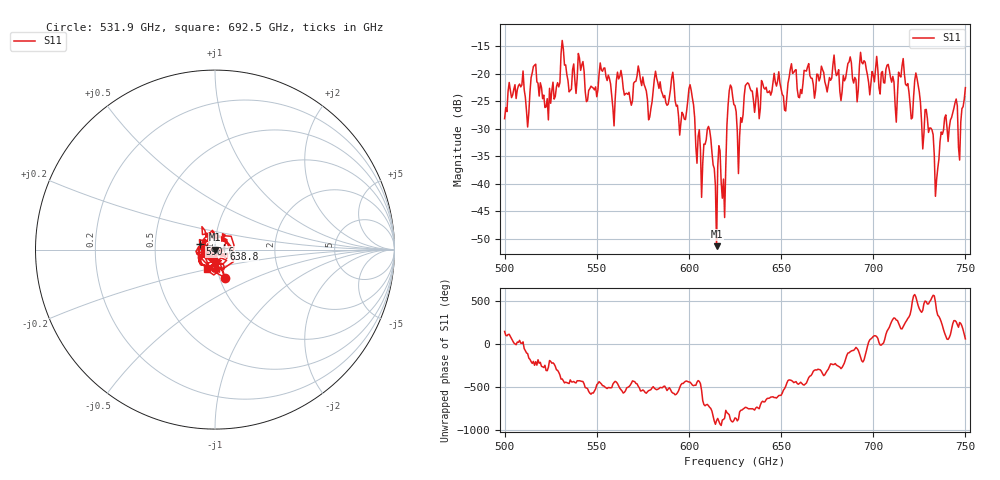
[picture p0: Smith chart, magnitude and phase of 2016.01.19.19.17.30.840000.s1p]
!Created with skrf (http://scikit-rf.org).
# GHz S RI R 50.0
!freq ReS11 ImS11
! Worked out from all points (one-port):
!   401 points, 500 GHz to 750 GHz, reference 50 ohm
!   lowest |S11| = -51.3 dB at 615 GHz (marker M1), VSWR 1.01, Z = 49.7 - j0.0337 ohm
!   |S11| at or under -10 dB: start of sweep to end of sweep
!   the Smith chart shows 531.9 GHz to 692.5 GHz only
!   S11 on the Smith chart (normalised r, x): 531.9 GHz: 1.06, -0.34; 590.6 GHz: 0.84, +0.05; 638.8 GHz: 1.10, +0.01; 692.5 GHz: 0.89, -0.19
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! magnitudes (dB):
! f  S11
! 500 GHz  -28.2
! 512.5 GHz  -29.7
! 515.6 GHz  -18.7
! 523.8 GHz  -28.4
! 531.2 GHz  -14.0
! 531.9 GHz  -15.6
! 545 GHz  -24.9
! 562.5 GHz  -20.5
! 578.8 GHz  -27.9
! 590.6 GHz  -20.8
! 593.8 GHz  -25.7
! 601.2 GHz  -23.1
! 605.6 GHz  -30.2
! 610.6 GHz  -29.6
! 615 GHz  -51.3
! 618.8 GHz  -39.2
! 622.5 GHz  -22.1
! 625 GHz  -25.8
! 627.5 GHz  -31.4
! 631.2 GHz  -21.9
! 638.8 GHz  -26.3
! 656.2 GHz  -20.0
! 687.5 GHz  -17.0
! 692.5 GHz  -18.6
! 718.8 GHz  -21.8
! 723.8 GHz  -20.9
! 734.4 GHz  -39.3
! 750 GHz  -22.6
